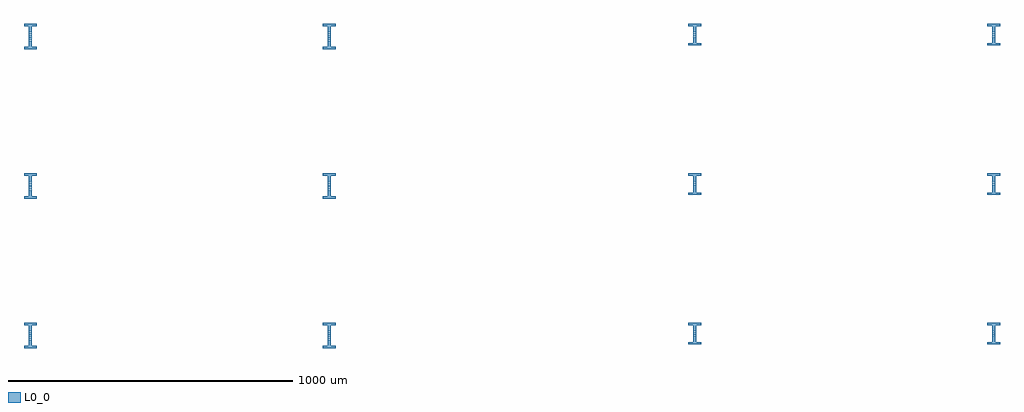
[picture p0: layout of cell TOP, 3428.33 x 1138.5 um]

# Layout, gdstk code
import gdstk
lib = gdstk.Library(unit=1e-6, precision=1e-09)
def P(c, l, *ps):  # polygons
    for p in ps: c.add(gdstk.Polygon(p, *l))
L0_0 = (0, 0)

top = lib.new_cell('TOP')
P(top, L0_0, [(1770.833,1404.5),(1770.833,1412.5),(1788.333,1412.5),(1788.333,1435.55),(1789.19,1435.55),(1789.19,1434),(1797.048,1434),(1797.048,1435.55),(1798.333,1435.55),(1798.333,1412.5),(1815.833,1412.5),(1815.833,1404.5)],
  [(2820.833,1404.5),(2820.833,1412.5),(2838.333,1412.5),(2838.333,1435.55),(2839.94,1435.55),(2839.94,1434),(2845.924,1434),(2845.924,1435.55),(2848.333,1435.55),(2848.333,1412.5),(2865.833,1412.5),(2865.833,1404.5)],
  [(5154.167,1417.5),(5154.167,1425.5),(5171.667,1425.5),(5171.667,1448.55),(5173.674,1448.55),(5173.674,1447),(5179.66,1447),(5179.66,1448.55),(5181.667,1448.55),(5181.667,1425.5),(5199.167,1425.5),(5199.167,1417.5)],
  [(4104.167,1417.5),(4104.167,1425.5),(4121.667,1425.5),(4121.667,1448.55),(4122.737,1448.55),(4122.737,1447),(4130.596,1447),(4130.596,1448.55),(4131.667,1448.55),(4131.667,1425.5),(4149.167,1425.5),(4149.167,1417.5)],
  [(1788.333,1435.95),(1788.333,1442.05),(1789.19,1442.05),(1789.19,1440.5),(1797.048,1440.5),(1797.048,1442.05),(1798.333,1442.05),(1798.333,1435.95),(1797.048,1435.95),(1797.048,1437.5),(1789.19,1437.5),(1789.19,1435.95)],
  [(2838.333,1435.95),(2838.333,1442.05),(2839.94,1442.05),(2839.94,1440.5),(2845.924,1440.5),(2845.924,1442.05),(2848.333,1442.05),(2848.333,1435.95),(2845.924,1435.95),(2845.924,1437.5),(2839.94,1437.5),(2839.94,1435.95)],
  [(1788.333,1442.45),(1788.333,1448.55),(1789.19,1448.55),(1789.19,1447),(1797.048,1447),(1797.048,1448.55),(1798.333,1448.55),(1798.333,1442.45),(1797.048,1442.45),(1797.048,1444),(1789.19,1444),(1789.19,1442.45)],
  [(2838.333,1442.45),(2838.333,1448.55),(2839.94,1448.55),(2839.94,1447),(2845.924,1447),(2845.924,1448.55),(2848.333,1448.55),(2848.333,1442.45),(2845.924,1442.45),(2845.924,1444),(2839.94,1444),(2839.94,1442.45)],
  [(5171.667,1448.95),(5171.667,1455.05),(5173.674,1455.05),(5173.674,1453.5),(5179.66,1453.5),(5179.66,1455.05),(5181.667,1455.05),(5181.667,1448.95),(5179.66,1448.95),(5179.66,1450.5),(5173.674,1450.5),(5173.674,1448.95)],
  [(1788.333,1448.95),(1788.333,1455.05),(1789.19,1455.05),(1789.19,1453.5),(1797.048,1453.5),(1797.048,1455.05),(1798.333,1455.05),(1798.333,1448.95),(1797.048,1448.95),(1797.048,1450.5),(1789.19,1450.5),(1789.19,1448.95)],
  [(2838.333,1448.95),(2838.333,1455.05),(2839.94,1455.05),(2839.94,1453.5),(2845.924,1453.5),(2845.924,1455.05),(2848.333,1455.05),(2848.333,1448.95),(2845.924,1448.95),(2845.924,1450.5),(2839.94,1450.5),(2839.94,1448.95)],
  [(4121.667,1448.95),(4121.667,1455.05),(4122.737,1455.05),(4122.737,1453.5),(4130.596,1453.5),(4130.596,1455.05),(4131.667,1455.05),(4131.667,1448.95),(4130.596,1448.95),(4130.596,1450.5),(4122.737,1450.5),(4122.737,1448.95)],
  [(5154.167,1942.5),(5154.167,1950.5),(5171.667,1950.5),(5171.667,1973.55),(5172.648,1973.55),(5172.648,1972),(5180.685,1972),(5180.685,1973.55),(5181.667,1973.55),(5181.667,1950.5),(5199.167,1950.5),(5199.167,1942.5)],
  [(5171.667,1461.95),(5171.667,1485),(5154.167,1485),(5154.167,1493),(5199.167,1493),(5199.167,1485),(5181.667,1485),(5181.667,1461.95),(5179.66,1461.95),(5179.66,1463.5),(5173.674,1463.5),(5173.674,1461.95)],
  [(1788.333,1461.95),(1788.333,1485),(1770.833,1485),(1770.833,1493),(1815.833,1493),(1815.833,1485),(1798.333,1485),(1798.333,1461.95),(1797.048,1461.95),(1797.048,1463.5),(1789.19,1463.5),(1789.19,1461.95)],
  [(2838.333,1461.95),(2838.333,1485),(2820.833,1485),(2820.833,1493),(2865.833,1493),(2865.833,1485),(2848.333,1485),(2848.333,1461.95),(2845.924,1461.95),(2845.924,1463.5),(2839.94,1463.5),(2839.94,1461.95)],
  [(4121.667,1461.95),(4121.667,1485),(4104.167,1485),(4104.167,1493),(4149.167,1493),(4149.167,1485),(4131.667,1485),(4131.667,1461.95),(4130.596,1461.95),(4130.596,1463.5),(4122.737,1463.5),(4122.737,1461.95)],
  [(1770.833,1929.5),(1770.833,1937.5),(1788.333,1937.5),(1788.333,1960.55),(1789.047,1960.55),(1789.047,1959),(1797.262,1959),(1797.262,1960.55),(1798.333,1960.55),(1798.333,1937.5),(1815.833,1937.5),(1815.833,1929.5)],
  [(2820.833,1929.5),(2820.833,1937.5),(2838.333,1937.5),(2838.333,1960.55),(2839.119,1960.55),(2839.119,1959),(2847.155,1959),(2847.155,1960.55),(2848.333,1960.55),(2848.333,1937.5),(2865.833,1937.5),(2865.833,1929.5)],
  [(4104.167,1942.5),(4104.167,1950.5),(4121.667,1950.5),(4121.667,1973.55),(4122.559,1973.55),(4122.559,1972),(4130.775,1972),(4130.775,1973.55),(4131.667,1973.55),(4131.667,1950.5),(4149.167,1950.5),(4149.167,1942.5)],
  [(1788.333,1960.95),(1788.333,1967.05),(1789.047,1967.05),(1789.047,1965.5),(1797.262,1965.5),(1797.262,1967.05),(1798.333,1967.05),(1798.333,1960.95),(1797.262,1960.95),(1797.262,1962.5),(1789.047,1962.5),(1789.047,1960.95)],
  [(2838.333,1960.95),(2838.333,1967.05),(2839.119,1967.05),(2839.119,1965.5),(2847.155,1965.5),(2847.155,1967.05),(2848.333,1967.05),(2848.333,1960.95),(2847.155,1960.95),(2847.155,1962.5),(2839.119,1962.5),(2839.119,1960.95)],
  [(2838.333,1967.45),(2838.333,1973.55),(2839.119,1973.55),(2839.119,1972),(2847.155,1972),(2847.155,1973.55),(2848.333,1973.55),(2848.333,1967.45),(2847.155,1967.45),(2847.155,1969),(2839.119,1969),(2839.119,1967.45)],
  [(1788.333,1967.45),(1788.333,1973.55),(1789.047,1973.55),(1789.047,1972),(1797.262,1972),(1797.262,1973.55),(1798.333,1973.55),(1798.333,1967.45),(1797.262,1967.45),(1797.262,1969),(1789.047,1969),(1789.047,1967.45)],
  [(5171.667,1455.45),(5171.667,1461.55),(5173.674,1461.55),(5173.674,1460),(5179.66,1460),(5179.66,1461.55),(5181.667,1461.55),(5181.667,1455.45),(5179.66,1455.45),(5179.66,1457),(5173.674,1457),(5173.674,1455.45)],
  [(1788.333,1455.45),(1788.333,1461.55),(1789.19,1461.55),(1789.19,1460),(1797.048,1460),(1797.048,1461.55),(1798.333,1461.55),(1798.333,1455.45),(1797.048,1455.45),(1797.048,1457),(1789.19,1457),(1789.19,1455.45)],
  [(2838.333,1455.45),(2838.333,1461.55),(2839.94,1461.55),(2839.94,1460),(2845.924,1460),(2845.924,1461.55),(2848.333,1461.55),(2848.333,1455.45),(2845.924,1455.45),(2845.924,1457),(2839.94,1457),(2839.94,1455.45)],
  [(4121.667,1455.45),(4121.667,1461.55),(4122.737,1461.55),(4122.737,1460),(4130.596,1460),(4130.596,1461.55),(4131.667,1461.55),(4131.667,1455.45),(4130.596,1455.45),(4130.596,1457),(4122.737,1457),(4122.737,1455.45)],
  [(1788.333,1980.45),(1788.333,1986.55),(1789.047,1986.55),(1789.047,1985),(1797.262,1985),(1797.262,1986.55),(1798.333,1986.55),(1798.333,1980.45),(1797.262,1980.45),(1797.262,1982),(1789.047,1982),(1789.047,1980.45)],
  [(5171.667,1980.45),(5171.667,1986.55),(5172.648,1986.55),(5172.648,1985),(5180.685,1985),(5180.685,1986.55),(5181.667,1986.55),(5181.667,1980.45),(5180.685,1980.45),(5180.685,1982),(5172.648,1982),(5172.648,1980.45)],
  [(4121.667,1980.45),(4121.667,1986.55),(4122.559,1986.55),(4122.559,1985),(4130.775,1985),(4130.775,1986.55),(4131.667,1986.55),(4131.667,1980.45),(4130.775,1980.45),(4130.775,1982),(4122.559,1982),(4122.559,1980.45)],
  [(2838.333,1980.45),(2838.333,1986.55),(2839.119,1986.55),(2839.119,1985),(2847.155,1985),(2847.155,1986.55),(2848.333,1986.55),(2848.333,1980.45),(2847.155,1980.45),(2847.155,1982),(2839.119,1982),(2839.119,1980.45)],
  [(1770.833,2454.5),(1770.833,2462.5),(1788.333,2462.5),(1788.333,2485.55),(1788.905,2485.55),(1788.905,2484),(1797.477,2484),(1797.477,2485.55),(1798.333,2485.55),(1798.333,2462.5),(1815.833,2462.5),(1815.833,2454.5)],
  [(2820.833,2454.5),(2820.833,2462.5),(2838.333,2462.5),(2838.333,2485.55),(2838.976,2485.55),(2838.976,2484),(2847.369,2484),(2847.369,2485.55),(2848.333,2485.55),(2848.333,2462.5),(2865.833,2462.5),(2865.833,2454.5)],
  [(2838.333,1986.95),(2838.333,2010),(2820.833,2010),(2820.833,2018),(2865.833,2018),(2865.833,2010),(2848.333,2010),(2848.333,1986.95),(2847.155,1986.95),(2847.155,1988.5),(2839.119,1988.5),(2839.119,1986.95)],
  [(5171.667,1986.95),(5171.667,2010),(5154.167,2010),(5154.167,2018),(5199.167,2018),(5199.167,2010),(5181.667,2010),(5181.667,1986.95),(5180.685,1986.95),(5180.685,1988.5),(5172.648,1988.5),(5172.648,1986.95)],
  [(4121.667,1986.95),(4121.667,2010),(4104.167,2010),(4104.167,2018),(4149.167,2018),(4149.167,2010),(4131.667,2010),(4131.667,1986.95),(4130.775,1986.95),(4130.775,1988.5),(4122.559,1988.5),(4122.559,1986.95)],
  [(1788.333,1986.95),(1788.333,2010),(1770.833,2010),(1770.833,2018),(1815.833,2018),(1815.833,2010),(1798.333,2010),(1798.333,1986.95),(1797.262,1986.95),(1797.262,1988.5),(1789.047,1988.5),(1789.047,1986.95)],
  [(5171.667,2498.95),(5171.667,2505.05),(5172.469,2505.05),(5172.469,2503.5),(5180.864,2503.5),(5180.864,2505.05),(5181.667,2505.05),(5181.667,2498.95),(5180.864,2498.95),(5180.864,2500.5),(5172.469,2500.5),(5172.469,2498.95)],
  [(4121.667,2498.95),(4121.667,2505.05),(4122.38,2505.05),(4122.38,2503.5),(4130.953,2503.5),(4130.953,2505.05),(4131.667,2505.05),(4131.667,2498.95),(4130.953,2498.95),(4130.953,2500.5),(4122.38,2500.5),(4122.38,2498.95)],
  [(1788.333,2498.95),(1788.333,2505.05),(1788.905,2505.05),(1788.905,2503.5),(1797.477,2503.5),(1797.477,2505.05),(1798.333,2505.05),(1798.333,2498.95),(1797.477,2498.95),(1797.477,2500.5),(1788.905,2500.5),(1788.905,2498.95)],
  [(2838.333,2498.95),(2838.333,2505.05),(2838.976,2505.05),(2838.976,2503.5),(2847.369,2503.5),(2847.369,2505.05),(2848.333,2505.05),(2848.333,2498.95),(2847.369,2498.95),(2847.369,2500.5),(2838.976,2500.5),(2838.976,2498.95)],
  [(4121.667,2511.95),(4121.667,2535),(4104.167,2535),(4104.167,2543),(4149.167,2543),(4149.167,2535),(4131.667,2535),(4131.667,2511.95),(4130.953,2511.95),(4130.953,2513.5),(4122.38,2513.5),(4122.38,2511.95)],
  [(1788.333,2511.95),(1788.333,2535),(1770.833,2535),(1770.833,2543),(1815.833,2543),(1815.833,2535),(1798.333,2535),(1798.333,2511.95),(1797.477,2511.95),(1797.477,2513.5),(1788.905,2513.5),(1788.905,2511.95)],
  [(5171.667,2511.95),(5171.667,2535),(5154.167,2535),(5154.167,2543),(5199.167,2543),(5199.167,2535),(5181.667,2535),(5181.667,2511.95),(5180.864,2511.95),(5180.864,2513.5),(5172.469,2513.5),(5172.469,2511.95)],
  [(2838.333,2511.95),(2838.333,2535),(2820.833,2535),(2820.833,2543),(2865.833,2543),(2865.833,2535),(2848.333,2535),(2848.333,2511.95),(2847.369,2511.95),(2847.369,2513.5),(2838.976,2513.5),(2838.976,2511.95)],
  [(4121.667,2505.45),(4121.667,2511.55),(4122.38,2511.55),(4122.38,2510),(4130.953,2510),(4130.953,2511.55),(4131.667,2511.55),(4131.667,2505.45),(4130.953,2505.45),(4130.953,2507),(4122.38,2507),(4122.38,2505.45)],
  [(5171.667,2505.45),(5171.667,2511.55),(5172.469,2511.55),(5172.469,2510),(5180.864,2510),(5180.864,2511.55),(5181.667,2511.55),(5181.667,2505.45),(5180.864,2505.45),(5180.864,2507),(5172.469,2507),(5172.469,2505.45)],
  [(1788.333,2505.45),(1788.333,2511.55),(1788.905,2511.55),(1788.905,2510),(1797.477,2510),(1797.477,2511.55),(1798.333,2511.55),(1798.333,2505.45),(1797.477,2505.45),(1797.477,2507),(1788.905,2507),(1788.905,2505.45)],
  [(2838.333,2505.45),(2838.333,2511.55),(2838.976,2511.55),(2838.976,2510),(2847.369,2510),(2847.369,2511.55),(2848.333,2511.55),(2848.333,2505.45),(2847.369,2505.45),(2847.369,2507),(2838.976,2507),(2838.976,2505.45)],
  [(5154.167,2467.5),(5154.167,2475.5),(5171.667,2475.5),(5171.667,2498.55),(5172.469,2498.55),(5172.469,2497),(5180.864,2497),(5180.864,2498.55),(5181.667,2498.55),(5181.667,2475.5),(5199.167,2475.5),(5199.167,2467.5)],
  [(2838.333,2485.95),(2838.333,2492.05),(2838.976,2492.05),(2838.976,2490.5),(2847.369,2490.5),(2847.369,2492.05),(2848.333,2492.05),(2848.333,2485.95),(2847.369,2485.95),(2847.369,2487.5),(2838.976,2487.5),(2838.976,2485.95)],
  [(4104.167,2467.5),(4104.167,2475.5),(4121.667,2475.5),(4121.667,2498.55),(4122.38,2498.55),(4122.38,2497),(4130.953,2497),(4130.953,2498.55),(4131.667,2498.55),(4131.667,2475.5),(4149.167,2475.5),(4149.167,2467.5)],
  [(1788.333,2485.95),(1788.333,2492.05),(1788.905,2492.05),(1788.905,2490.5),(1797.477,2490.5),(1797.477,2492.05),(1798.333,2492.05),(1798.333,2485.95),(1797.477,2485.95),(1797.477,2487.5),(1788.905,2487.5),(1788.905,2485.95)],
  [(2838.333,2492.45),(2838.333,2498.55),(2838.976,2498.55),(2838.976,2497),(2847.369,2497),(2847.369,2498.55),(2848.333,2498.55),(2848.333,2492.45),(2847.369,2492.45),(2847.369,2494),(2838.976,2494),(2838.976,2492.45)],
  [(1788.333,2492.45),(1788.333,2498.55),(1788.905,2498.55),(1788.905,2497),(1797.477,2497),(1797.477,2498.55),(1798.333,2498.55),(1798.333,2492.45),(1797.477,2492.45),(1797.477,2494),(1788.905,2494),(1788.905,2492.45)],
  [(2838.333,1973.95),(2838.333,1980.05),(2839.119,1980.05),(2839.119,1978.5),(2847.155,1978.5),(2847.155,1980.05),(2848.333,1980.05),(2848.333,1973.95),(2847.155,1973.95),(2847.155,1975.5),(2839.119,1975.5),(2839.119,1973.95)],
  [(1788.333,1973.95),(1788.333,1980.05),(1789.047,1980.05),(1789.047,1978.5),(1797.262,1978.5),(1797.262,1980.05),(1798.333,1980.05),(1798.333,1973.95),(1797.262,1973.95),(1797.262,1975.5),(1789.047,1975.5),(1789.047,1973.95)],
  [(5171.667,1973.95),(5171.667,1980.05),(5172.648,1980.05),(5172.648,1978.5),(5180.685,1978.5),(5180.685,1980.05),(5181.667,1980.05),(5181.667,1973.95),(5180.685,1973.95),(5180.685,1975.5),(5172.648,1975.5),(5172.648,1973.95)],
  [(4121.667,1973.95),(4121.667,1980.05),(4122.559,1980.05),(4122.559,1978.5),(4130.775,1978.5),(4130.775,1980.05),(4131.667,1980.05),(4131.667,1973.95),(4130.775,1973.95),(4130.775,1975.5),(4122.559,1975.5),(4122.559,1973.95)])

lib.write_gds('TOP.gds')
